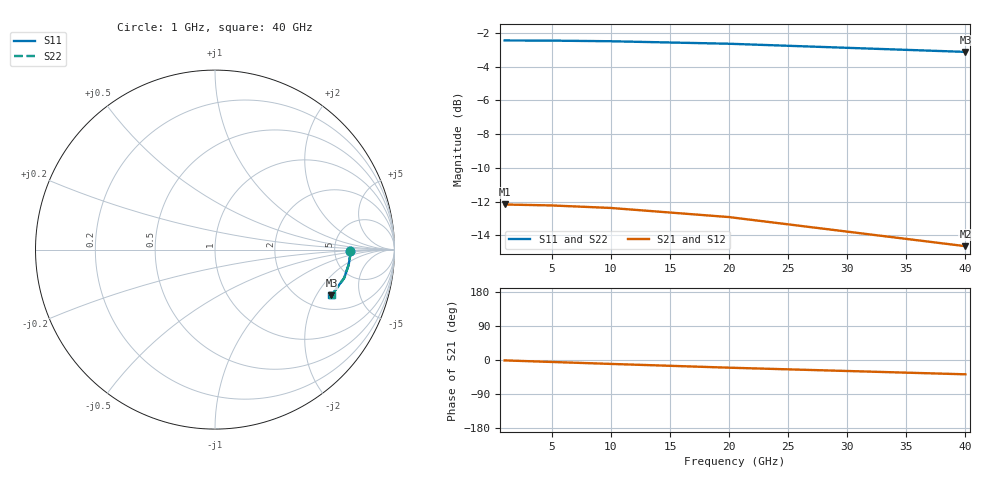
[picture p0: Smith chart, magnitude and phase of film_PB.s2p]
! EM-TFR film section of run PB: pb_dut.s2p de-embedded by half of pb_thru.s2p (README)
# GHz S RI R 50
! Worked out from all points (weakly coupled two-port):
!   5 points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, 1 GHz to 40 GHz, reference 50 ohm
!   highest |S21| = -12.17 dB at 1 GHz (marker M1); lowest = -14.6 dB at 40 GHz (marker M2)
!   lowest |S11| = -3.1 dB at 40 GHz (marker M3), VSWR 5.60, Z = 137 - j135 ohm
!   |S11| at or under -10 dB: nowhere
!   |S22| runs from -3.1 to -2.5 dB; largest |S21 - S12| = 3e-07
1  0.7536 -0.00862  0.2462 -0.00447  0.2462 -0.00447  0.7536 -0.00868
5  0.7516 -0.0428  0.2437 -0.0221  0.2437 -0.0221  0.7516 -0.0431
10  0.7448 -0.084  0.2366 -0.0431  0.2366 -0.0431  0.7449 -0.0845
20  0.7199 -0.1572  0.212 -0.0784  0.212 -0.0784  0.7204 -0.1581
40  0.6491 -0.2543  0.1465 -0.1135  0.1465 -0.1135  0.6508 -0.2548
